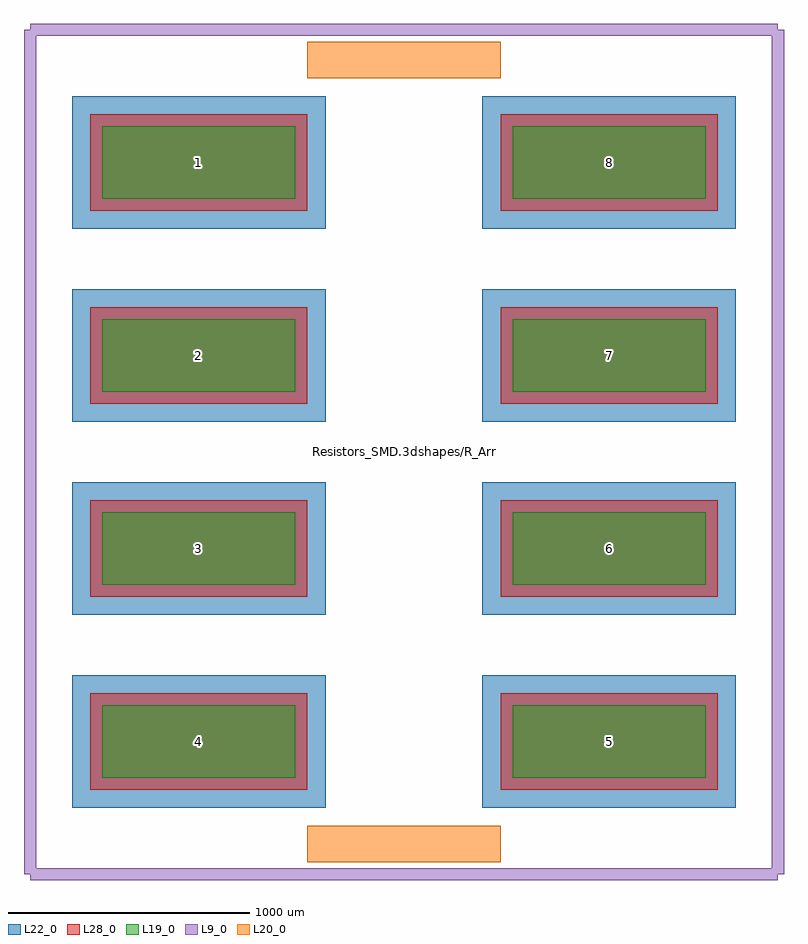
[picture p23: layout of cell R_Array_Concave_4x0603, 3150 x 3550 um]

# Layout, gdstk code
import gdstk
lib = gdstk.Library(unit=1e-6, precision=1e-09)
def R(c, l, rs):  # rectangles x0, y0, x1, y1
    for r in rs: c.add(gdstk.rectangle(r[:2], r[2:], *l))
def A(c, l, x, y, w, h, nx, ny, dx, dy):  # array of equal rectangles
    R(c, l, [(x+i*dx, y+j*dy, x+i*dx+w, y+j*dy+h) for i in range(nx) for j in range(ny)])
L9_0 = (9, 0)
L19_0 = (19, 0)
L20_0 = (20, 0)
L22_0 = (22, 0)
L28_0 = (28, 0)

r_array_concave_4x0603 = lib.new_cell('R_Array_Concave_4x0603')
A(r_array_concave_4x0603, L19_0, -1250, -1350, 800, 300, 1, 4, 0, 800)
A(r_array_concave_4x0603, L19_0, 450, -1350, 800, 300, 1, 4, 0, 800)
A(r_array_concave_4x0603, L22_0, -1375, -1475, 1050, 550, 1, 4, 0, 800)
A(r_array_concave_4x0603, L22_0, 325, -1475, 1050, 550, 1, 4, 0, 800)
A(r_array_concave_4x0603, L28_0, -1300, -1400, 900, 400, 1, 4, 0, 800)
A(r_array_concave_4x0603, L28_0, 400, -1400, 900, 400, 1, 4, 0, 800)
r_array_concave_4x0603.add(gdstk.FlexPath([(400,1625),(-400,1625)], 149.998, ends="flush", simple_path=True, layer=20, datatype=0))  # L20_0
r_array_concave_4x0603.add(gdstk.FlexPath([(400,-1625),(-400,-1625)], 149.998, ends="flush", simple_path=True, layer=20, datatype=0))  # L20_0
r_array_concave_4x0603.add(gdstk.FlexPath([(1550,1750),(1550,-1750)], 50, ends="flush", simple_path=True, layer=9, datatype=0))  # L9_0
r_array_concave_4x0603.add(gdstk.FlexPath([(-1550,1750),(-1550,-1750)], 50, ends="flush", simple_path=True, layer=9, datatype=0))  # L9_0
r_array_concave_4x0603.add(gdstk.FlexPath([(-1550,-1750),(1550,-1750)], 50, ends="flush", simple_path=True, layer=9, datatype=0))  # L9_0
r_array_concave_4x0603.add(gdstk.FlexPath([(-1550,1750),(1550,1750)], 50, ends="flush", simple_path=True, layer=9, datatype=0))  # L9_0
r_array_concave_4x0603.add(gdstk.Label('Resistors_SMD.3dshapes/R_Array_Concave_4x0603.wrl', (0,0), layer=12, texttype=0))
r_array_concave_4x0603.add(gdstk.Label('5', (850,-1200), layer=28, texttype=0))
r_array_concave_4x0603.add(gdstk.Label('6', (850,-400), layer=28, texttype=0))
r_array_concave_4x0603.add(gdstk.Label('7', (850,400), layer=28, texttype=0))
r_array_concave_4x0603.add(gdstk.Label('8', (850,1200), layer=28, texttype=0))
r_array_concave_4x0603.add(gdstk.Label('4', (-850,-1200), layer=28, texttype=0))
r_array_concave_4x0603.add(gdstk.Label('1', (-850,1200), layer=28, texttype=0))
r_array_concave_4x0603.add(gdstk.Label('3', (-850,-400), layer=28, texttype=0))
r_array_concave_4x0603.add(gdstk.Label('2', (-850,400), layer=28, texttype=0))
r_array_concave_4x0603.add(gdstk.Label('type', (0,-2600), layer=9, texttype=0))
r_array_concave_4x0603.add(gdstk.Label('devicename', (0,2600), layer=9, texttype=0))

lib.write_gds('R_Array_Concave_4x0603.gds')
